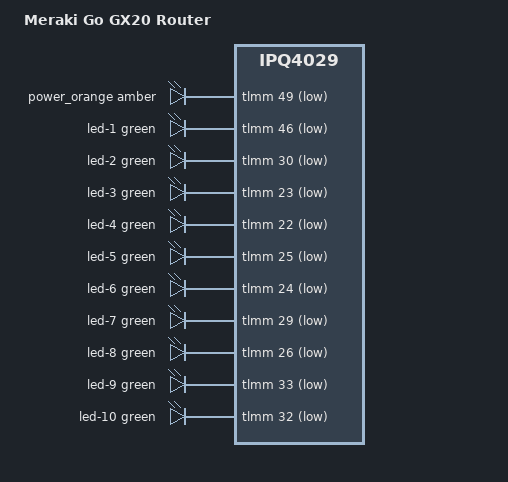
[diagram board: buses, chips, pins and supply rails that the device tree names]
// SPDX-License-Identifier: GPL-2.0-only
// Device Tree Source for Meraki Go GX20 (Fairyfly)

#include "qcom-ipq4029-wired-qca-common.dtsi"

/ {
	model = "Meraki Go GX20 Router";
	compatible = "meraki,gx20";

	leds {
		compatible = "gpio-leds";

		power_orange: power {
			color = <LED_COLOR_ID_AMBER>;
			function = LED_FUNCTION_POWER;
			gpios = <&tlmm 49 GPIO_ACTIVE_LOW>;
			panic-indicator;
		};

		led-1 {
			/* WAN left */
			color = <LED_COLOR_ID_GREEN>;
			function = LED_FUNCTION_WAN;
			function-enumerator = <0>;
			gpios = <&tlmm 46 GPIO_ACTIVE_LOW>;
		};

		led-2 {
			/* WAN right */
			color = <LED_COLOR_ID_GREEN>;
			function = LED_FUNCTION_WAN;
			function-enumerator = <1>;
			gpios = <&tlmm 30 GPIO_ACTIVE_LOW>;
		};

		led-3 {
			/* port 2 left */
			color = <LED_COLOR_ID_GREEN>;
			function = LED_FUNCTION_LAN;
			function-enumerator = <2>;
			gpios = <&tlmm 23 GPIO_ACTIVE_LOW>;
		};

		led-4 {
			/* port 2 right */
			color = <LED_COLOR_ID_GREEN>;
			function = LED_FUNCTION_LAN;
			function-enumerator = <3>;
			gpios = <&tlmm 22 GPIO_ACTIVE_LOW>;
		};

		led-5 {
			/* port 3 left */
			color = <LED_COLOR_ID_GREEN>;
			function = LED_FUNCTION_LAN;
			function-enumerator = <4>;
			gpios = <&tlmm 25 GPIO_ACTIVE_LOW>;
		};

		led-6 {
			/* port 3 right */
			color = <LED_COLOR_ID_GREEN>;
			function = LED_FUNCTION_LAN;
			function-enumerator = <5>;
			gpios = <&tlmm 24 GPIO_ACTIVE_LOW>;
		};

		led-7 {
			/* port 4 left */
			color = <LED_COLOR_ID_GREEN>;
			function = LED_FUNCTION_LAN;
			function-enumerator = <6>;
			gpios = <&tlmm 29 GPIO_ACTIVE_LOW>;
		};

		led-8 {
			/* port 4 right */
			color = <LED_COLOR_ID_GREEN>;
			function = LED_FUNCTION_LAN;
			function-enumerator = <7>;
			gpios = <&tlmm 26 GPIO_ACTIVE_LOW>;
		};

		led-9 {
			/* port 5 left */
			color = <LED_COLOR_ID_GREEN>;
			function = LED_FUNCTION_LAN;
			function-enumerator = <8>;
			gpios = <&tlmm 33 GPIO_ACTIVE_LOW>;
		};

		led-10 {
			/* port 5 right */
			color = <LED_COLOR_ID_GREEN>;
			function = LED_FUNCTION_LAN;
			function-enumerator = <9>;
			gpios = <&tlmm 32 GPIO_ACTIVE_LOW>;
		};
	};
};

/* GX20 does not have WiFi radios */
&wifi0 {
	status = "disabled";
};

&wifi1 {
	status = "disabled";
};
